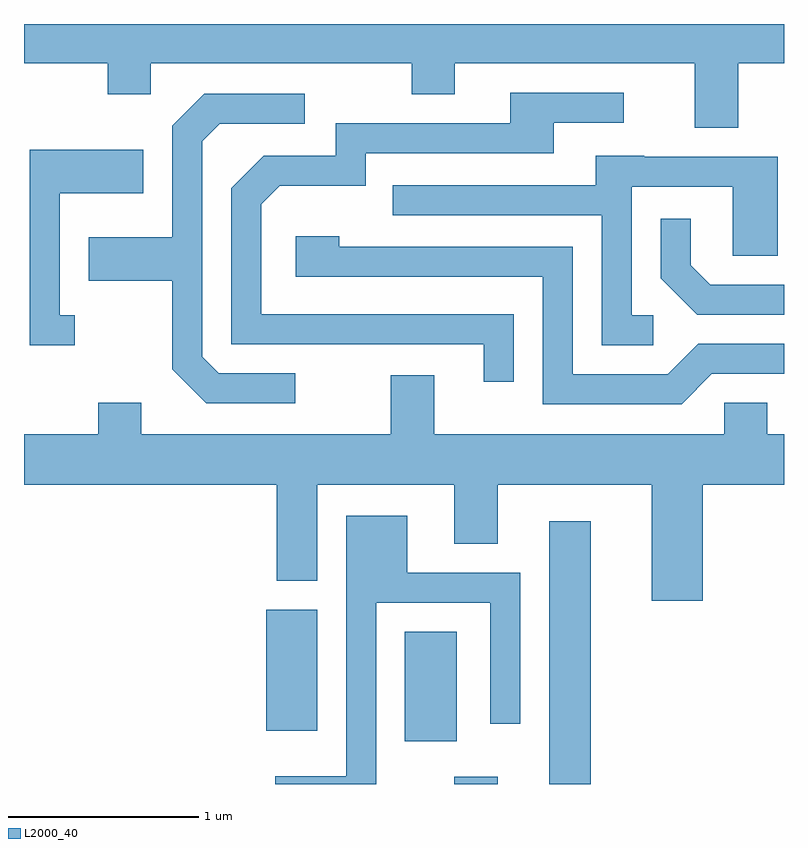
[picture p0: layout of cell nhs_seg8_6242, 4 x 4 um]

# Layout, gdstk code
import gdstk
lib = gdstk.Library(unit=1e-6, precision=1e-09)
def R(c, l, rs):  # rectangles x0, y0, x1, y1
    for r in rs: c.add(gdstk.rectangle(r[:2], r[2:], *l))
def P(c, l, *ps):  # polygons
    for p in ps: c.add(gdstk.Polygon(p, *l))
L2000_40 = (2000, 40)

nhs_seg8_6242 = lib.new_cell('nhs_seg8_6242')
R(nhs_seg8_6242, L2000_40, [(373.876,1890.342,374.104,1890.379), (374.376,1890.342,374.594,1891.724), (373.616,1890.566,373.889,1891.144), (372.886,1890.621,373.154,1891.259)])
P(nhs_seg8_6242, L2000_40, [(375.369,1894.136),(375.611,1894.136),(375.611,1894.342),(371.611,1894.342),(371.611,1894.136),(372.051,1894.136),(372.051,1893.971),(372.279,1893.971),(372.279,1894.136),(373.651,1894.136),(373.651,1893.971),(373.879,1893.971),(373.879,1894.136),(375.141,1894.136),(375.141,1893.796),(375.369,1893.796)],
  [(374.189,1892.814),(372.859,1892.814),(372.859,1893.394),(372.957,1893.491),(373.409,1893.491),(373.409,1893.661),(374.399,1893.661),(374.399,1893.821),(374.768,1893.821),(374.768,1893.979),(374.171,1893.979),(374.171,1893.819),(373.251,1893.819),(373.251,1893.649),(372.874,1893.649),(372.701,1893.477),(372.701,1892.656),(374.031,1892.656),(374.031,1892.458),(374.189,1892.458)],
  [(373.038,1892.504),(372.637,1892.504),(372.549,1892.592),(372.549,1893.724),(372.642,1893.816),(373.088,1893.816),(373.088,1893.974),(372.559,1893.974),(372.391,1893.807),(372.391,1893.219),(371.951,1893.219),(371.951,1892.991),(372.391,1892.991),(372.391,1892.524),(372.569,1892.346),(373.038,1892.346)],
  [(371.878,1892.809),(371.799,1892.809),(371.799,1893.451),(372.239,1893.451),(372.239,1893.679),(371.641,1893.679),(371.641,1892.651),(371.878,1892.651)],
  [(374.923,1892.809),(374.809,1892.809),(374.809,1893.486),(375.341,1893.486),(375.341,1893.121),(375.579,1893.121),(375.579,1893.644),(374.875,1893.644),(374.875,1893.649),(374.621,1893.649),(374.621,1893.494),(373.553,1893.494),(373.553,1893.336),(374.651,1893.336),(374.651,1892.651),(374.923,1892.651)],
  [(375.611,1892.969),(375.222,1892.969),(375.119,1893.072),(375.119,1893.318),(374.961,1893.318),(374.961,1893.004),(375.154,1892.811),(375.611,1892.811)],
  [(375.232,1892.501),(375.611,1892.501),(375.611,1892.659),(375.159,1892.659),(374.999,1892.499),(374.499,1892.499),(374.499,1893.169),(373.269,1893.169),(373.269,1893.224),(373.041,1893.224),(373.041,1893.011),(374.341,1893.011),(374.341,1892.341),(375.072,1892.341)],
  [(373.769,1892.494),(373.541,1892.494),(373.541,1892.184),(372.229,1892.184),(372.229,1892.349),(372.001,1892.349),(372.001,1892.184),(371.611,1892.184),(371.611,1891.916),(372.941,1891.916),(372.941,1891.411),(373.154,1891.411),(373.154,1891.916),(373.876,1891.916),(373.876,1891.606),(374.104,1891.606),(374.104,1891.916),(374.916,1891.916),(374.916,1891.306),(375.184,1891.306),(375.184,1891.916),(375.611,1891.916),(375.611,1892.184),(375.524,1892.184),(375.524,1892.349),(375.296,1892.349),(375.296,1892.184),(373.769,1892.184)],
  [(373.464,1891.296),(374.066,1891.296),(374.066,1890.658),(374.224,1890.658),(374.224,1891.454),(373.629,1891.454),(373.629,1891.754),(373.306,1891.754),(373.306,1890.384),(372.933,1890.384),(372.933,1890.342),(373.464,1890.342)])

lib.write_gds('nhs_seg8_6242.gds')
